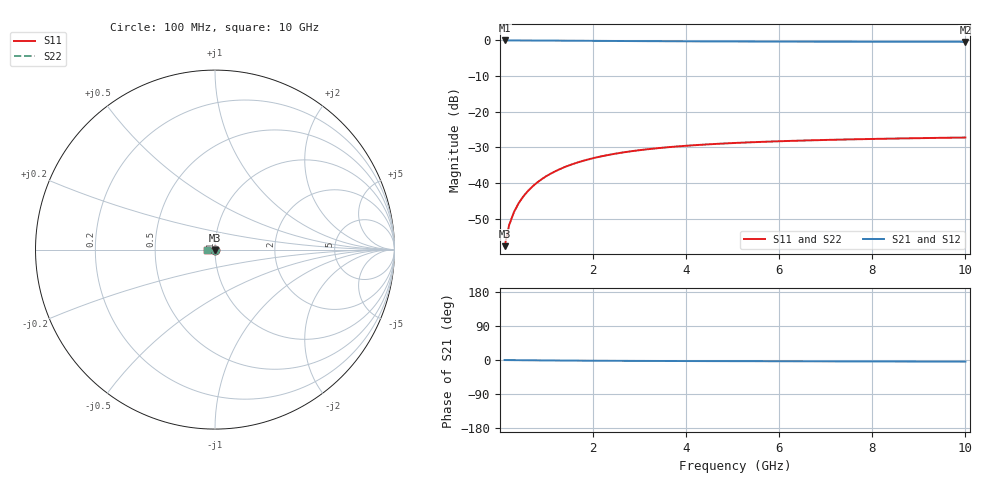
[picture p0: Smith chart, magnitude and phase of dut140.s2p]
! Touchstone file exported from HFSS 2024.1.0
!  File:  C:/UserFiles/LocalFiles/RDL_TSV_Batchsim/temp_TSV1_140_1779380295.aedt
!  Generated:  12:24:23 AM May 22, 2026
!  Design:  TSV1
!  Project:  temp_TSV1_140_1779380295
!  Setup:  Setup1
!  Solution:  Sweep
! Variables:
!  dtsv = 13.42um
!  hbump = 3um
!  htsv = 64.69um
!  lrdl = 252.1521522um
!  p = 40
!  p1 = 55.69um
!  t = 500um
!  trdl = 3um
!  wrdl = 24.89489489um
# GHz S MA R 50.000000
! Terminal data exported
! Port[1] = TSV22_T1
! Port[2] = TSV22_T2
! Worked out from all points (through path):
!   100 points, 100 MHz to 10 GHz, reference 50 ohm
!   highest |S21| = 0.00 dB at 100 MHz (marker M1); lowest = -0.4 dB at 10 GHz (marker M2)
!   lowest |S11| = -57.7 dB at 100 MHz (marker M3), VSWR 1.00, Z = 50 - j0.131 ohm
!   |S11| at or under -10 dB: start of sweep to end of sweep
!   |S22| runs from -57.7 to -27.2 dB; largest |S21 - S12| = 7.4e-15
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0.1  0.001306 -88.6  0.9999 -0.1  0.9999 -0.1  0.001306 -88.6
! Gamma 0 0 0 0
! Port Impedance 50 0 50 0
0.2  0.002609 -92.0  0.9997 -0.2  0.9997 -0.2  0.002609 -92.0
0.3  0.00391 -94.4  0.9995 -0.4  0.9995 -0.4  0.00391 -94.4
0.4  0.005204 -96.5  0.9992 -0.5  0.9992 -0.5  0.005204 -96.5
0.5  0.006484 -98.6  0.9988 -0.6  0.9988 -0.6  0.006484 -98.6
0.6  0.007748 -100.6  0.9983 -0.7  0.9983 -0.7  0.007747 -100.6
0.7  0.008989 -102.5  0.9978 -0.8  0.9978 -0.8  0.008989 -102.5
0.8  0.01021 -104.4  0.9972 -0.9  0.9972 -0.9  0.01021 -104.4
0.9  0.0114 -106.3  0.9965 -1.0  0.9965 -1.0  0.0114 -106.3
1.1  0.01369 -109.9  0.9951 -1.2  0.9951 -1.2  0.01369 -109.9
1.4  0.01688 -115.0  0.9926 -1.5  0.9926 -1.5  0.01688 -115.0
1.6  0.01883 -118.2  0.9909 -1.6  0.9909 -1.6  0.01883 -118.2
1.8  0.02065 -121.2  0.9891 -1.8  0.9891 -1.8  0.02065 -121.2
2.1  0.02312 -125.5  0.9864 -2.0  0.9864 -2.0  0.02312 -125.5
2.5  0.02599 -130.6  0.983 -2.2  0.983 -2.2  0.02599 -130.6
2.9  0.02841 -135.2  0.9797 -2.4  0.9797 -2.4  0.02841 -135.2
3.4  0.03094 -140.3  0.9761 -2.6  0.9761 -2.6  0.03093 -140.3
4.2  0.03407 -147.3  0.9712 -2.8  0.9712 -2.8  0.03407 -147.3
5.1  0.03666 -153.6  0.9669 -3.1  0.9669 -3.1  0.03666 -153.6
6.7  0.03982 -162.6  0.9616 -3.5  0.9616 -3.5  0.03982 -162.6
8.4  0.04205 -170.1  0.9578 -3.9  0.9578 -3.9  0.04205 -170.1
10  0.04359 -175.9  0.9555 -4.4  0.9555 -4.4  0.04359 -175.9
